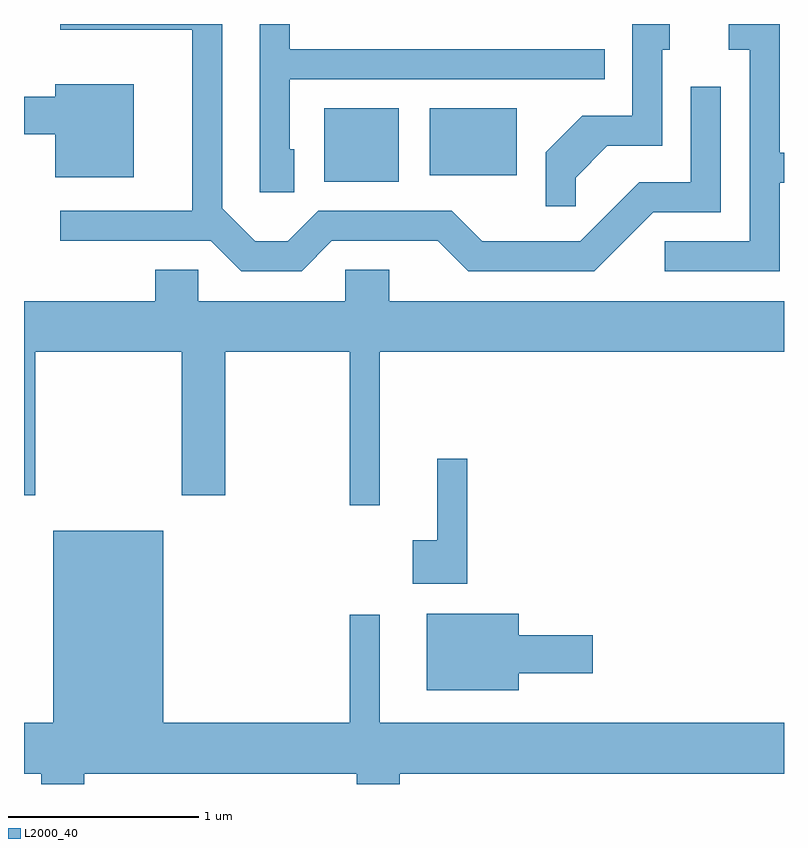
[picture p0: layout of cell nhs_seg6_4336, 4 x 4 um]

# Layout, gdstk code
import gdstk
lib = gdstk.Library(unit=1e-6, precision=1e-09)
def R(c, l, rs):  # rectangles x0, y0, x1, y1
    for r in rs: c.add(gdstk.rectangle(r[:2], r[2:], *l))
def P(c, l, *ps):  # polygons
    for p in ps: c.add(gdstk.Polygon(p, *l))
L2000_40 = (2000, 40)

nhs_seg6_4336 = lib.new_cell('nhs_seg6_4336')
R(nhs_seg6_4336, L2000_40, [(319.191,1595.331,319.584,1595.719), (319.746,1595.366,320.204,1595.719)])
P(nhs_seg6_4336, L2000_40, [(321.589,1595.326),(321.611,1595.326),(321.611,1595.484),(321.589,1595.484),(321.589,1596.162),(321.321,1596.162),(321.321,1596.026),(321.431,1596.026),(321.431,1595.019),(320.983,1595.019),(320.983,1594.861),(321.589,1594.861)],
  [(319.232,1595.021),(319.789,1595.021),(319.949,1594.861),(320.612,1594.861),(320.922,1595.171),(321.279,1595.171),(321.279,1595.833),(321.121,1595.833),(321.121,1595.329),(320.849,1595.329),(320.539,1595.019),(320.022,1595.019),(319.862,1595.179),(319.159,1595.179),(318.999,1595.019),(318.827,1595.019),(318.654,1595.192),(318.654,1596.162),(317.803,1596.162),(317.803,1596.131),(318.496,1596.131),(318.496,1595.179),(317.803,1595.179),(317.803,1595.021),(318.594,1595.021),(318.754,1594.861),(319.072,1594.861)],
  [(319.034,1595.504),(319.009,1595.504),(319.009,1595.871),(320.668,1595.871),(320.668,1596.029),(319.009,1596.029),(319.009,1596.162),(318.851,1596.162),(318.851,1595.276),(319.034,1595.276)],
  [(320.514,1595.354),(320.682,1595.521),(320.969,1595.521),(320.969,1596.026),(321.009,1596.026),(321.009,1596.162),(320.811,1596.162),(320.811,1595.679),(320.549,1595.679),(320.356,1595.487),(320.356,1595.203),(320.514,1595.203)],
  [(318.189,1595.844),(317.776,1595.844),(317.776,1595.779),(317.611,1595.779),(317.611,1595.581),(317.776,1595.581),(317.776,1595.356),(318.189,1595.356)],
  [(319.484,1594.436),(321.611,1594.436),(321.611,1594.704),(319.534,1594.704),(319.534,1594.869),(319.301,1594.869),(319.301,1594.704),(318.529,1594.704),(318.529,1594.869),(318.301,1594.869),(318.301,1594.704),(317.611,1594.704),(317.611,1593.681),(317.669,1593.681),(317.669,1594.436),(318.441,1594.436),(318.441,1593.681),(318.669,1593.681),(318.669,1594.436),(319.326,1594.436),(319.326,1593.628),(319.484,1593.628)],
  [(319.944,1593.873),(319.786,1593.873),(319.786,1593.444),(319.656,1593.444),(319.656,1593.216),(319.944,1593.216)],
  [(317.929,1592.216),(319.361,1592.216),(319.361,1592.162),(319.589,1592.162),(319.589,1592.216),(321.611,1592.216),(321.611,1592.484),(319.484,1592.484),(319.484,1593.053),(319.326,1593.053),(319.326,1592.484),(318.344,1592.484),(318.344,1593.494),(317.766,1593.494),(317.766,1592.484),(317.611,1592.484),(317.611,1592.216),(317.701,1592.216),(317.701,1592.162),(317.929,1592.162)],
  [(320.214,1592.746),(320.604,1592.746),(320.604,1592.944),(320.214,1592.944),(320.214,1593.059),(319.731,1593.059),(319.731,1592.656),(320.214,1592.656)])

lib.write_gds('nhs_seg6_4336.gds')
